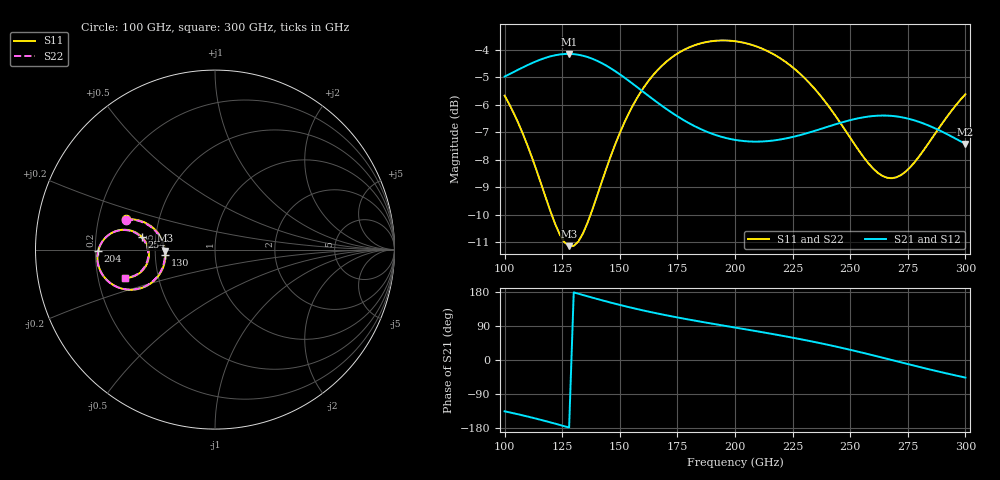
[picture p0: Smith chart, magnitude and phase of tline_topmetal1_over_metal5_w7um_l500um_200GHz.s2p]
#  GHZ S DB R 50
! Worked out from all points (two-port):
!   101 points, 100 GHz to 300 GHz, reference 50 ohm
!   highest |S21| = -4.14 dB at 128 GHz (marker M1); lowest = -7.4 dB at 300 GHz (marker M2)
!   |S21| within 3 dB of the highest: start of sweep to 193.3 GHz; 226.3 GHz to 293.8 GHz (67.46 GHz wide, 25.9 % of centre)
!   lowest |S11| = -11.1 dB at 128 GHz (marker M3), VSWR 1.77, Z = 28.3 - j0.395 ohm
!   |S11| at or under -10 dB: 120.4 GHz to 137.3 GHz (16.84 GHz wide, 13.1 % of centre)
!   |S22| runs from -11.0 to -3.6 dB; largest |S21 - S12| = 5.5e-14
!   S11 on the Smith chart (normalised r, x): 100 GHz: 0.32, +0.15; 130 GHz: 0.57, -0.04; 204 GHz: 0.21, -0.00; 254 GHz: 0.42, +0.07; 300 GHz: 0.32, -0.14
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100  -5.66 161.1  -4.97 -135.4  -4.97 -135.4  -5.64 161.4
108  -7.07 158.9  -4.63 -146.3  -4.63 -146.3  -7.03 159.3
114  -8.42 159.9  -4.40 -155.3  -4.40 -155.3  -8.37 160.4
122  -10.35 168.4  -4.19 -168.1  -4.19 -168.1  -10.26 168.7
128  -11.15 -178.7  -4.14 -178.2  -4.14 -178.2  -11.03 -178.5
130  -11.14 -173.7  -4.15 178.3  -4.15 178.3  -11.02 -173.7
134  -10.68 -164.7  -4.21 171.5  -4.21 171.5  -10.58 -164.8
142  -8.85 -154.0  -4.47 158.1  -4.47 158.1  -8.78 -154.3
150  -7.02 -152.1  -4.88 145.4  -4.88 145.4  -6.98 -152.3
158  -5.68 -154.5  -5.38 133.7  -5.38 133.7  -5.65 -154.7
168  -4.59 -159.7  -6.01 120.7  -6.01 120.7  -4.57 -159.7
184  -3.78 -168.8  -6.84 102.3  -6.84 102.3  -3.77 -168.8
200  -3.68 -177.4  -7.27 85.6  -7.27 85.6  -3.66 -177.3
204  -3.74 -179.4  -7.32 81.5  -7.32 81.5  -3.72 -179.3
218  -4.21 174.0  -7.28 66.7  -7.28 66.7  -4.20 174.2
234  -5.36 168.3  -6.96 48.2  -6.96 48.2  -5.33 168.6
244  -6.44 167.3  -6.70 35.2  -6.70 35.2  -6.40 167.6
254  -7.69 170.3  -6.48 21.1  -6.48 21.1  -7.63 170.6
268  -8.67 -176.8  -6.40 0.1  -6.40 0.1  -8.58 -176.8
276  -8.27 -168.6  -6.52 -12.2  -6.52 -12.2  -8.20 -168.7
286  -7.15 -162.8  -6.82 -27.1  -6.82 -27.1  -7.09 -163.0
300  -5.61 -162.5  -7.42 -46.4  -7.42 -46.4  -5.57 -162.7
